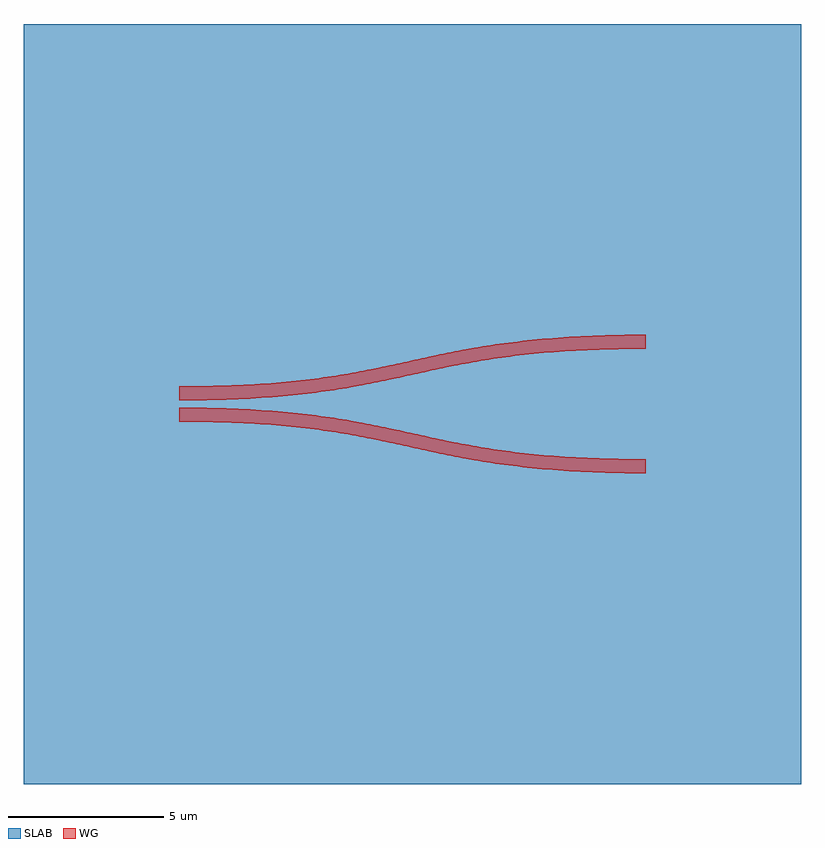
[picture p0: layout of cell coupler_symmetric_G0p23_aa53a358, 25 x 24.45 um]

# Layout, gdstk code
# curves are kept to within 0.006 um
import gdstk
lib = gdstk.Library(unit=1e-6, precision=1e-09)
def R(c, l, rs):  # rectangles x0, y0, x1, y1
    for r in rs: c.add(gdstk.rectangle(r[:2], r[2:], *l))
def P(c, l, *ps):  # polygons
    for p in ps: c.add(gdstk.Polygon(p, *l))
WG = (3, 0)
SLAB = (5, 0)

bend_s_s15_1p657_csxs_rc = lib.new_cell('bend_s_S15_1p657_CSxs_rc')
P(bend_s_s15_1p657_csxs_rc, WG, [(0,-0.225),(0,0.225),(1.086,0.237),(2.432,0.293),(3.445,0.371),(4.494,0.491),(5.303,0.614),(5.93,0.727),(6.644,0.872),(8.499,1.275),(9.235,1.418),(10.163,1.572),(11.039,1.685),(11.842,1.763),(12.724,1.824),(13.697,1.864),(15,1.882),(15,1.432),(13.914,1.42),(12.568,1.364),(11.555,1.286),(10.506,1.166),(9.697,1.043),(9.07,0.93),(8.356,0.785),(6.501,0.382),(5.765,0.239),(4.837,0.085),(3.961,-0.028),(3.158,-0.106),(2.276,-0.167),(1.303,-0.207)])
R(bend_s_s15_1p657_csxs_rc, SLAB, [(-5,-10.225,20,11.882)])
P(bend_s_s15_1p657_csxs_rc, SLAB, [(0,-5.225),(0,5.225),(2.13,5.284),(3.823,5.446),(8.335,6.337),(10.482,6.654),(12.664,6.827),(15,6.882),(15,-3.568),(12.87,-3.627),(11.177,-3.789),(6.665,-4.68),(4.518,-4.997),(2.336,-5.17)])

coupler_symmetric_g0p23_ = lib.new_cell('coupler_symmetric_G0p23_aa53a358')
coupler_symmetric_g0p23_.add(gdstk.Reference(bend_s_s15_1p657_csxs_rc, (0,0.343)))
coupler_symmetric_g0p23_.add(gdstk.Reference(bend_s_s15_1p657_csxs_rc, (0,-0.343), x_reflection=True))

lib.write_gds('coupler_symmetric_G0p23_aa53a358.gds')
